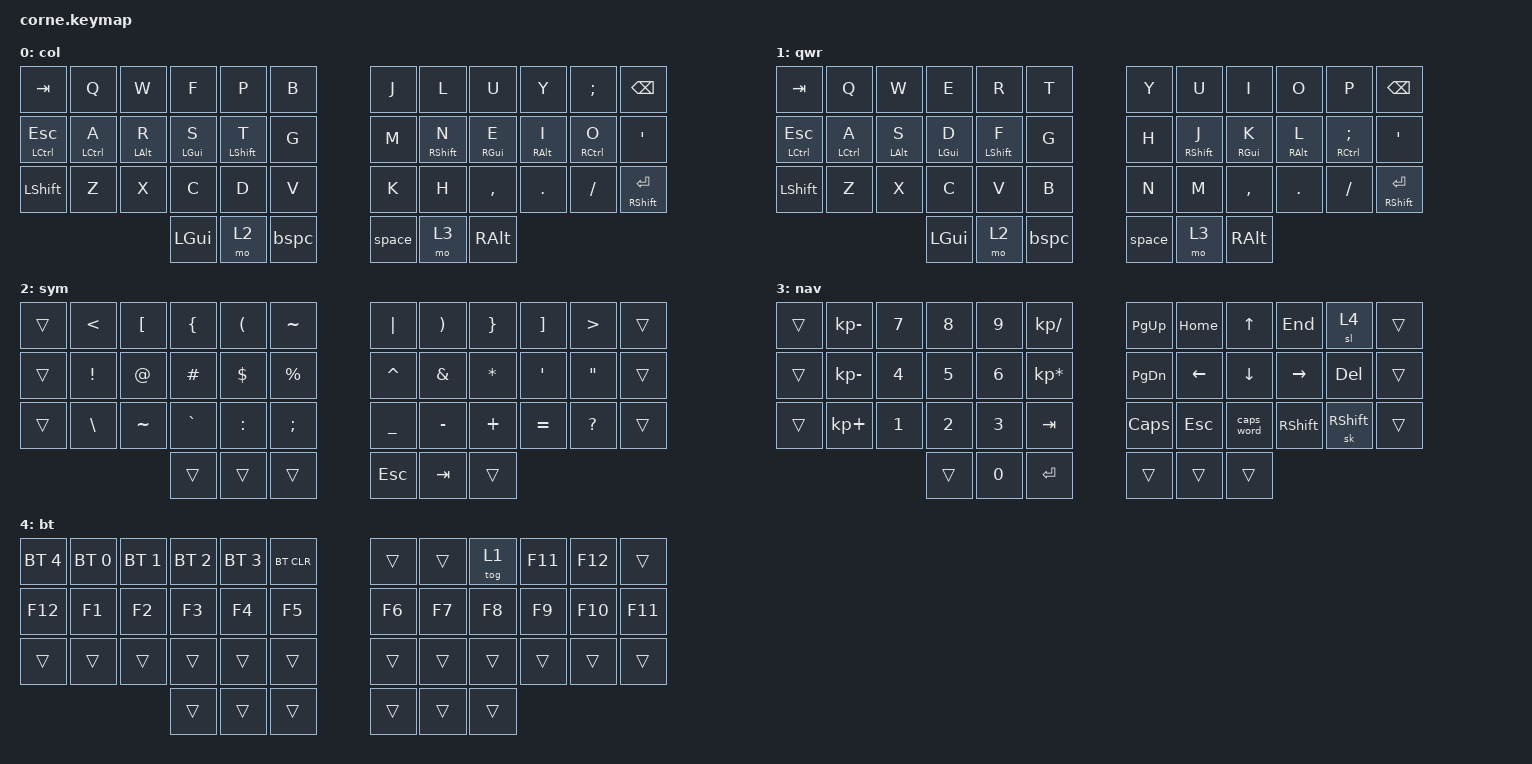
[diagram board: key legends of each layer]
/*
 * Copyright (c) 2020 The ZMK Contributors
 *
 * SPDX-License-Identifier: MIT
 */

#include <behaviors.dtsi>
#include <dt-bindings/zmk/bt.h>
#include <dt-bindings/zmk/keys.h>

/ {
    behaviors {
        hrm: homewrow_mods {
            compatible = "zmk,behavior-hold-tap";
            label = "HOMEROW_MODS";
            bindings = <&kp>, <&kp>;

            #binding-cells = <2>;
            tapping-term-ms = <200>;
            require-prior-idle-ms = <125>;
            hold-trigger-key-positions = <0 1 2 3 4 5 17 16 15 14 13 12 25 26 27 28 29 37 36 38 24 6 7 8 9 10 11 23 22 21 20 19 18 30 39 40 41 31 32 33 35 34>;
            flavor = "tap-preferred";
        };

        hrs: homewrow_shift {
            compatible = "zmk,behavior-hold-tap";
            label = "HOMEROW_SHIFT";
            bindings = <&kp>, <&kp>;

            #binding-cells = <2>;
            tapping-term-ms = <250>;
            hold-trigger-key-positions = <6 7 8 9 10 11 18 19 20 21 22 23 30 31 32 33 34 35 39 40 41 17 4 16 5 29 28 37 36 38 27 15 3 2 14 26 25 13 1 0 12 24>;
            flavor = "balanced";
        };

        lh: layer_hold {
          compatible = "zmk,behavior-hold-tap";
          label = "LAYER_HOLD";
          bindings = <&mo>, <&kp>;

          #binding-cells = <2>;
          tapping-term-ms = <200>;
          flavor = "hold-preferred";
        };

        bspc: bspc_del_on_shift {
            compatible = "zmk,behavior-mod-morph";
            label = "BSPC_DEL_ON_SHIFT";
            bindings = <&kp BSPC>, <&kp DEL>;

            #binding-cells = <0>;
            mods = <(MOD_LSFT|MOD_RSFT)>;
        };

        // the following only USES one argument but requires 2, so pass in the layer as the
        // first param and a dummy value like 0 as second
        lhbs: layer_hold_bspc_override {
            compatible = "zmk,behavior-hold-tap";
            label = "LAYER_HOLD_BSPC_OVERRIDE";
            bindings = <&mo>, <&bspc>;

            #binding-cells = <2>;
            tapping-term-ms = <200>;
        };

        space: space_tab_on_shift {
            compatible = "zmk,behavior-mod-morph";
            label = "SPACE_TAB_ON_SHIFT";
            bindings = <&kp SPACE>, <&kp TAB>;

            #binding-cells = <0>;
            mods = <(MOD_LSFT)>;
        };

        ltsp: layer_tap_space_override {
            compatible = "zmk,behavior-hold-tap";
            label = "LAYER_TAP_SPACE_OVERRIDE";
            bindings = <&mo>, <&space>;

            #binding-cells = <2>;
            tapping-term-ms = <200>;
            flavor = "tap-preferred";
        };

    };

    combos {
        compatible = "zmk,combos";

        escape {
            bindings = <&kp ESC>;
            key-positions = <27 26>;
            timeout-ms = <30>;
            //layers = <0 1>;
        };

        enter {
            bindings = <&kp ENTER>;
            key-positions = <32 33>;
            timeout-ms = <30>;
            //layers = <0 1>;
        };
    };

    keymap {
        compatible = "zmk,keymap";

        col {
            // -----------------------------------------------------------------------------------------
            // |  TAB |  Q  |  W  |  F  |  P  |  B  |   |  J  |  L   |  U  |  Y  |  ;  | BKSP |
            // | CTRL |  A  |  R  |  S  |  T  |  G  |   |  M  |  N   |  E  |  I  |  O  |  '   |
            // | SHFT |  Z  |  X  |  C  |  D  |  V  |   |  K  |  H   |  ,  |  .  |  /  |SH/ENT|
            //                    | GUI | LWR | ESC |   | SPC | RSE  | ALT |

            display-name = "col";
            bindings = <
&kp TAB           &kp Q           &kp W         &kp F         &kp P           &kp B      &kp J      &kp L           &kp U        &kp Y          &kp SEMI       &kp BSPC
&mt LCTRL ESCAPE  &hrm LCTRL A    &hrm LALT R   &hrm LGUI S   &hrs LSHIFT T   &kp G      &kp M      &hrs RSHIFT N   &hrm RGUI E  &hrm RALT I    &hrm RCTRL O   &kp SQT
&kp LSHFT         &kp Z           &kp X         &kp C         &kp D           &kp V      &kp K      &kp H           &kp COMMA    &kp DOT        &kp FSLH       &mt RSHIFT ENTER
                                                        &kp LGUI         &mo 2              &bspc    &space      &mo 3        &kp RALT
            >;
        };

        qwr {
            // -----------------------------------------------------------------------------------------
            // |  TAB |  Q  |  W  |  E  |  R  |  T  |   |  Y  |  U   |  I  |  O  |  P  | BKSP |
            // | CTRL |  A  |  S  |  D  |  F  |  G  |   |  H  |  J   |  K  |  L  |  ;  |  '   |
            // | SHFT |  Z  |  X  |  C  |  V  |  B  |   |  N  |  M   |  ,  |  .  |  /  |SH/ENT|
            //                    | GUI | LWR | ESC |   | SPC | RSE  | ALT |

            display-name = "qwr";
            bindings = <
&kp TAB           &kp Q           &kp W         &kp E         &kp R          &kp T      &kp Y      &kp U            &kp I        &kp O          &kp P            &kp BSPC
&mt LCTRL ESCAPE  &hrm LCTRL A    &hrm LALT S   &hrm LGUI D   &hrs LSHIFT F  &kp G      &kp H      &hrs RSHIFT J    &hrm RGUI K  &hrm RALT L    &hrm RCTRL SEMI  &kp SQT
&kp LSHFT         &kp Z           &kp X         &kp C         &kp V          &kp B      &kp N      &kp M            &kp COMMA    &kp DOT        &kp FSLH         &mt RSHIFT ENTER
                                                        &kp LGUI         &mo 2              &bspc    &space  &mo 3               &kp RALT
            >;
        };

        sym {
            // -----------------------------------------------------------------------------------------
            // |      |  <  |  [  |  {  |  (  |  ~  |   |  |  |  )  |  }  |  ]  |  >  |      |
            // |      |  !  |  @  |  #  |  $  |  %  |   |  ^  |  &  |  *  |  '  |  "  |      |
            // |      |  \  |  ~  |  `  |  :  |  ;  |   |  _  |  -  |  +  |  =  |  ?  |      |
            //                    |     |     |     |   | BKSP| TAB |     |

            display-name = "sym";
            bindings = <
&trans  &kp LESS_THAN    &kp LBKT   &kp LBRC   &kp LPAR    &kp TILDE      &kp PIPE       &kp RPAR   &kp RBRC  &kp RBKT   &kp GREATER_THAN  &trans
&trans  &kp EXCLAMATION  &kp AT     &kp HASH   &kp DOLLAR  &kp PERCENT    &kp CARET      &kp AMPS   &kp STAR  &kp SQT    &kp DQT           &trans
&trans  &kp BSLH         &kp TILDE  &kp GRAVE  &kp COLON   &kp SEMI       &kp UNDER      &kp MINUS  &kp PLUS  &kp EQUAL  &kp QMARK         &trans
                                    &trans     &trans      &trans         &kp ESC  &kp TAB    &trans
            >;
        };

        nav {
            // -----------------------------------------------------------------------------------------
            // |      |  -  |  7  |  8  |  9  |  /  |   |PGUP | HME | UP  | END |BKSP  |      |
            // |      |  -  |  4  |  5  |  6  |  *  |   |PGDWN| LFT | DWN |RGHT | DEL  |      |
            // |      |  +  |  1  |  2  |  3  | TAB |   |sl 3 |CAPS |CWORD|RSHFT|ORSHFT|      |
            //                    |     |  0  | ENT |   |     |     |    |

            display-name = "nav";
            bindings = <
&trans  &kp KP_MINUS  &kp N7  &kp N8  &kp N9  &kp KP_SLASH       &kp PG_UP  &kp HOME  &kp UP      &kp END    &sl 4            &trans
&trans  &kp KP_MINUS  &kp N4  &kp N5  &kp N6  &kp KP_MULTIPLY    &kp PG_DN  &kp LEFT  &kp DOWN    &kp RIGHT  &kp DEL          &trans
&trans  &kp KP_PLUS   &kp N1  &kp N2  &kp N3  &kp TAB            &kp CAPS   &kp ESC   &caps_word  &kp RSHFT  &sk RSHFT        &trans
                              &trans  &kp N0  &kp ENTER          &trans     &trans    &trans
            >;
        };

        // -----------------------------------------------------------------------------------------
        // | BT5  | BT1 | BT2 | BT3 | BT4 |BTCLR|   |     |     |     | F11 | F12 |     |
        // | F12  | F1  | F2  | F3  | F4  | F5  |   | F6  | F7  |  F8 | F9  | F10 | F11 |
        // |      |     |     |     |     |     |   |     |     |     |     |     |     |
        //                    |     |     |     |   |     |     |     |

        bt {
            display-name = "bt";
            bindings = <
&bt BT_SEL 4 &bt BT_SEL 0  &bt BT_SEL 1  &bt BT_SEL 2  &bt BT_SEL 3  &bt BT_CLR      &trans  &trans  &tog 1  &kp F11 &kp F12  &trans
&kp F12      &kp F1        &kp F2        &kp F3        &kp F4        &kp F5          &kp F6  &kp F7  &kp F8  &kp F9  &kp F10  &kp F11
&trans       &trans        &trans        &trans        &trans        &trans          &trans  &trans  &trans  &trans  &trans   &trans
                                         &trans        &trans        &trans          &trans  &trans  &trans
            >;
        };
    };

    conditional_layers { compatible = "zmk,conditional-layers"; };
};
